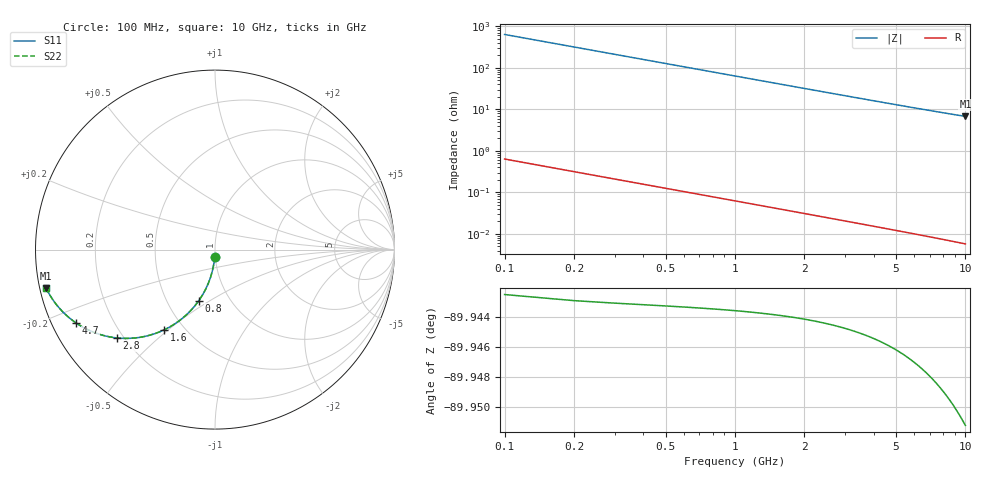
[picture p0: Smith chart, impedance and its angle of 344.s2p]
# Hz S RI R 50.00
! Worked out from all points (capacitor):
!   100 points, 100 MHz to 10 GHz, reference 50 ohm
!   read as one part in shunt: C = 2.51 pF near 100 MHz
!   lowest |Z| = 6.77 ohm at 10 GHz (marker M1)
!   S11 on the Smith chart (normalised r, x): 100 MHz: 0.99, -0.08; 800 MHz: 0.72, -0.45; 1.6 GHz: 0.39, -0.48; 2.8 GHz: 0.17, -0.37; 4.7 GHz: 0.07, -0.25; 10 GHz: 0.02, -0.11
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1e8  -0.00156 -0.0391  0.9984 -0.0395  0.9984 -0.0395  -0.00156 -0.0391
2e8  -0.00621 -0.0779  0.9937 -0.0786  0.9937 -0.0786  -0.00621 -0.0779
3e8  -0.0138 -0.1159  0.9861 -0.117  0.9861 -0.117  -0.0138 -0.1159
4e8  -0.0243 -0.1528  0.9756 -0.1543  0.9756 -0.1543  -0.0243 -0.1528
5e8  -0.0374 -0.1884  0.9625 -0.1903  0.9625 -0.1903  -0.0374 -0.1884
6e8  -0.053 -0.2224  0.947 -0.2246  0.947 -0.2246  -0.053 -0.2224
8e8  -0.0903 -0.2847  0.9096 -0.2877  0.9096 -0.2877  -0.0903 -0.2847
1e9  -0.1342 -0.3386  0.8657 -0.3423  0.8657 -0.3423  -0.1342 -0.3386
1.2e9  -0.1824 -0.3835  0.8175 -0.3879  0.8175 -0.3879  -0.1824 -0.3835
1.4e9  -0.2328 -0.4195  0.7671 -0.4247  0.7671 -0.4247  -0.2328 -0.4195
1.6e9  -0.2837 -0.4473  0.7162 -0.4533  0.7162 -0.4533  -0.2837 -0.4473
1.8e9  -0.3338 -0.4677  0.6661 -0.4744  0.6661 -0.4744  -0.3338 -0.4677
2.3e9  -0.4497 -0.4927  0.5502 -0.5013  0.5502 -0.5013  -0.4497 -0.4927
2.8e9  -0.5475 -0.492  0.4524 -0.5025  0.4524 -0.5025  -0.5475 -0.492
3.4e9  -0.6406 -0.4729  0.3592 -0.4857  0.3592 -0.4857  -0.6406 -0.4729
4e9  -0.7115 -0.4449  0.2883 -0.4601  0.2883 -0.4601  -0.7115 -0.4449
4.7e9  -0.7731 -0.4093  0.2267 -0.4272  0.2267 -0.4272  -0.7731 -0.4093
5.1e9  -0.8005 -0.3893  0.1993 -0.4088  0.1993 -0.4088  -0.8005 -0.3893
5.8e9  -0.8386 -0.3561  0.1611 -0.3784  0.1611 -0.3784  -0.8386 -0.3561
6.7e9  -0.8742 -0.318  0.1254 -0.3439  0.1254 -0.3439  -0.8742 -0.318
8.4e9  -0.9165 -0.2591  0.0828 -0.2921  0.0828 -0.2921  -0.9165 -0.2591
1e10  -0.94 -0.2162  0.0591 -0.2559  0.0591 -0.2559  -0.94 -0.2162
